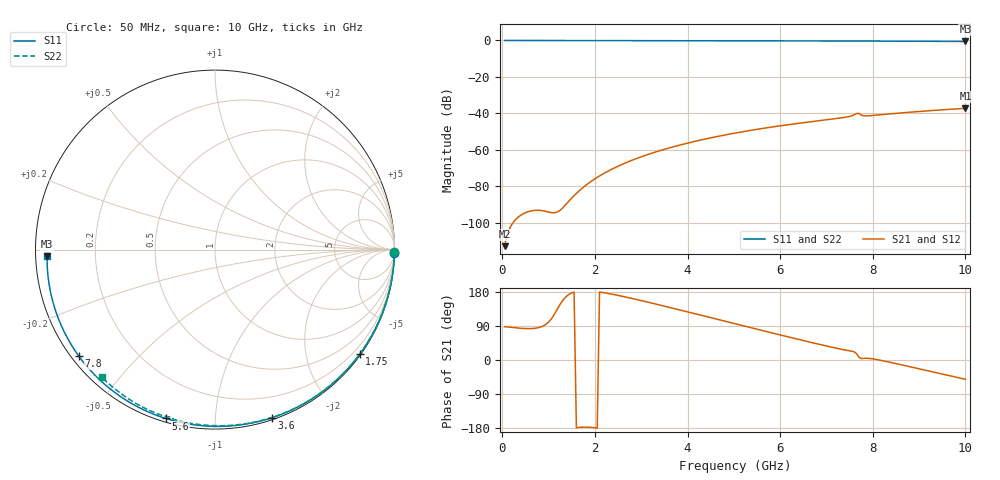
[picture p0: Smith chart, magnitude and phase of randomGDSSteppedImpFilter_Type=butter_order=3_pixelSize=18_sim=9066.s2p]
! freq	dB(S11)	phase(S11)	dB(S12)	phase(S12)
!  dB(S21)	phase(S21)	dB(S22)	phase(S22)
!S-par simulation data
#  GHz  S  DB  R 50
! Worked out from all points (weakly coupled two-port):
!   200 points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, 50 MHz to 10 GHz, reference 50 ohm
!   highest |S21| = -37.21 dB at 10 GHz (marker M1); lowest = -112.8 dB at 50 MHz (marker M2)
!   lowest |S11| = -0.6 dB at 10 GHz (marker M3), VSWR 30.48, Z = 1.64 - j0.993 ohm
!   |S11| at or under -10 dB: nowhere
!   |S22| runs from -0.4 to 0.0 dB; largest |S21 - S12| = 0
!   S11 on the Smith chart (normalised r, x): 50 MHz: open; 1.75 GHz: 0.03, -3.09; 3.6 GHz: 0.02, -1.39; 5.6 GHz: 0.02, -0.75; 7.8 GHz: 0.02, -0.34; 10 GHz: 0.03, -0.02
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0.05  -0.00 -1.1  -112.81 87.9  -112.81 87.9  -0.00 -0.7
0.85  -0.02 -17.6  -93.30 88.1  -93.30 88.1  -0.02 -12.8
1.75  -0.05 -35.8  -80.50 -177.0  -80.50 -177.0  -0.03 -26.2
1.8  -0.05 -36.8  -79.48 -177.0  -79.48 -177.0  -0.03 -26.9
2.15  -0.06 -43.8  -73.54 178.5  -73.54 178.5  -0.04 -32.1
2.5  -0.06 -50.6  -68.96 170.5  -68.96 170.5  -0.05 -37.1
2.9  -0.08 -58.3  -64.73 159.7  -64.73 159.7  -0.06 -42.8
3.4  -0.09 -67.6  -60.45 145.1  -60.45 145.1  -0.07 -49.9
3.6  -0.10 -71.3  -58.96 139.2  -58.96 139.2  -0.07 -52.7
4.3  -0.12 -83.9  -54.51 117.9  -54.51 117.9  -0.09 -62.2
5.05  -0.15 -97.0  -50.69 94.9  -50.69 94.9  -0.11 -72.2
5.6  -0.17 -106.3  -48.33 78.2  -48.33 78.2  -0.13 -79.3
6.7  -0.24 -124.3  -44.44 45.5  -44.44 45.5  -0.18 -93.1
7.4  -0.29 -135.5  -42.17 26.5  -42.17 26.5  -0.22 -101.6
7.55  -0.31 -137.9  -41.31 23.2  -41.31 23.2  -0.24 -103.5
7.65  -0.31 -139.5  -40.03 16.7  -40.03 16.7  -0.29 -104.8
7.7  -0.31 -140.3  -40.03 7.6  -40.03 7.6  -0.32 -105.1
7.75  -0.32 -141.1  -40.89 3.9  -40.89 3.9  -0.30 -105.4
7.8  -0.32 -141.9  -41.30 4.3  -41.30 4.3  -0.28 -106.0
8.35  -0.38 -150.7  -40.31 -5.4  -40.31 -5.4  -0.29 -112.6
9.2  -0.47 -164.4  -38.57 -28.8  -38.57 -28.8  -0.36 -122.3
10  -0.57 -177.7  -37.21 -50.8  -37.21 -50.8  -0.45 -131.4
